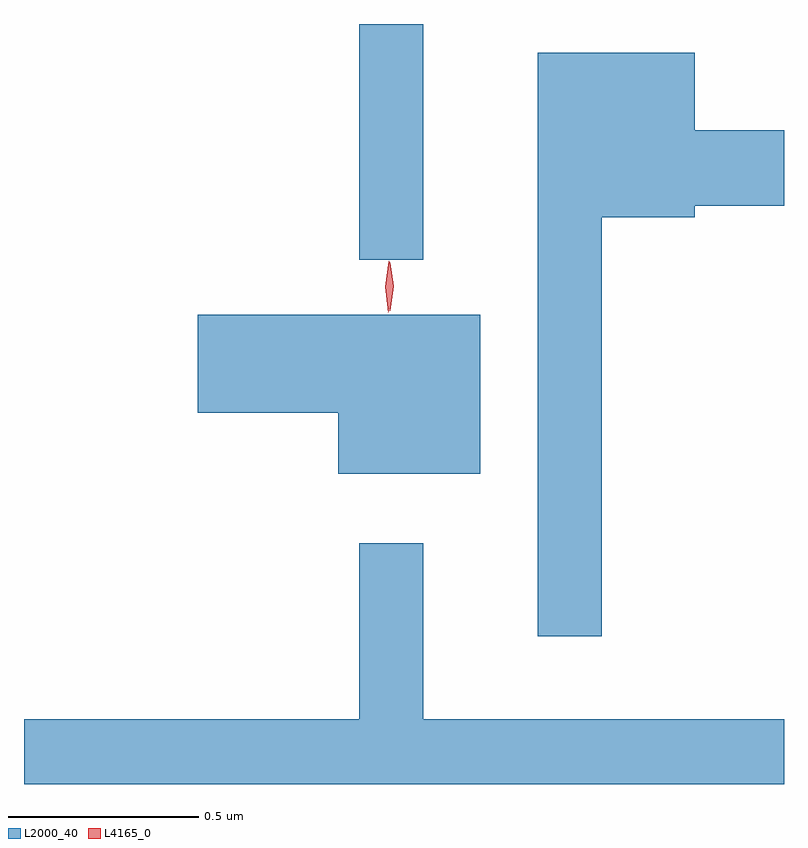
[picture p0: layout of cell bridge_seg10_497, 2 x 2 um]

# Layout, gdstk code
import gdstk
lib = gdstk.Library(unit=1e-6, precision=1e-09)
def R(c, l, rs):  # rectangles x0, y0, x1, y1
    for r in rs: c.add(gdstk.rectangle(r[:2], r[2:], *l))
def P(c, l, *ps):  # polygons
    for p in ps: c.add(gdstk.Polygon(p, *l))
L2000_40 = (2000, 40)
L4165_0 = (4165, 0)

bridge_seg10_497 = lib.new_cell('bridge_seg10_497')
R(bridge_seg10_497, L2000_40, [(961.641,2153.133,961.809,2153.754)])
P(bridge_seg10_497, L2000_40, [(962.279,2153.246),(962.524,2153.246),(962.524,2153.276),(962.759,2153.276),(962.759,2153.474),(962.524,2153.474),(962.524,2153.679),(962.111,2153.679),(962.111,2152.143),(962.279,2152.143)],
  [(961.959,2152.989),(961.216,2152.989),(961.216,2152.731),(961.586,2152.731),(961.586,2152.571),(961.959,2152.571)],
  [(962.759,2151.924),(961.809,2151.924),(961.809,2152.388),(961.641,2152.388),(961.641,2151.924),(960.759,2151.924),(960.759,2151.754),(962.759,2151.754)])
P(bridge_seg10_497, L4165_0, [(961.717,2152.994),(961.709,2153.062),(961.719,2153.13),(961.72,2153.13),(961.72,2153.13),(961.729,2153.062),(961.718,2152.994),(961.718,2152.994)],
  [(961.722,2153),(961.722,2153),(961.712,2153.064),(961.722,2153.126),(961.722,2153.127),(961.723,2153.126),(961.732,2153.064),(961.723,2153)])

lib.write_gds('bridge_seg10_497.gds')
